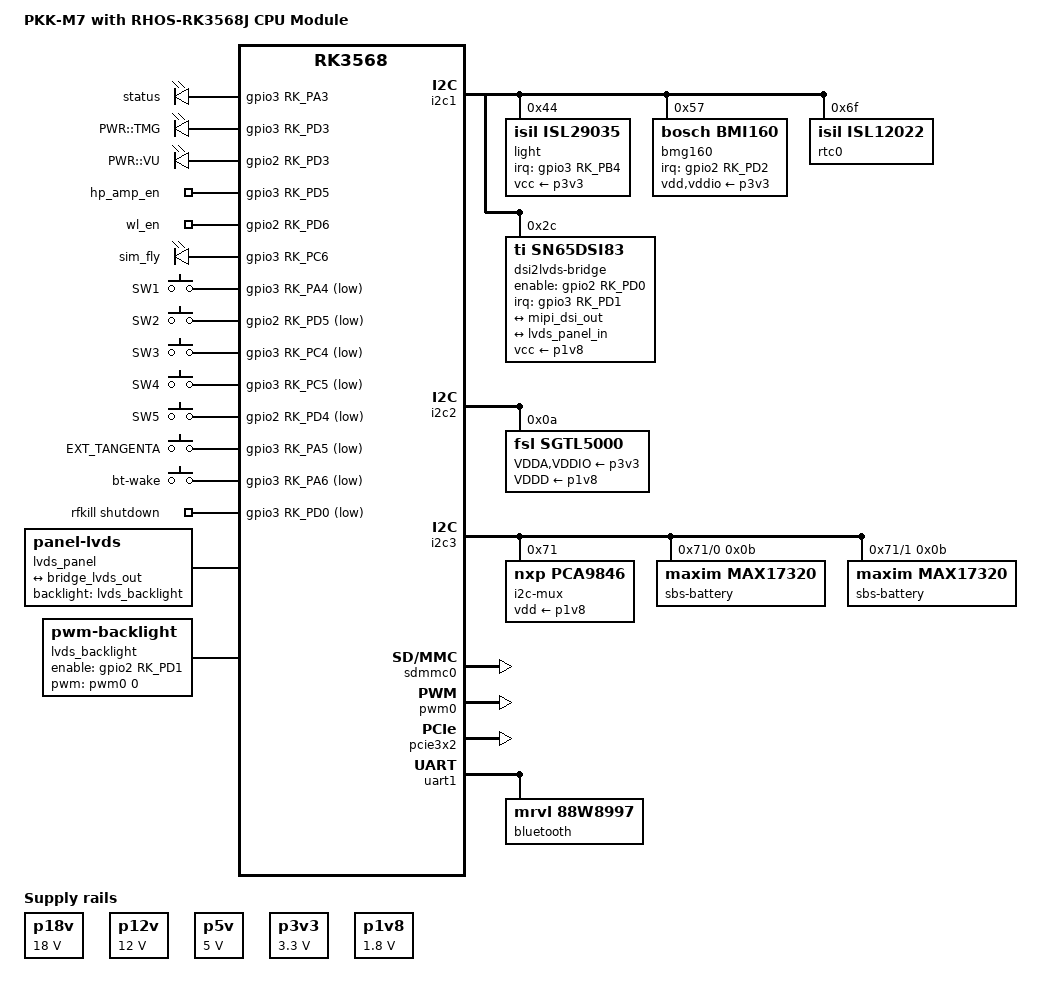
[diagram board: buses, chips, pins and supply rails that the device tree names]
// SPDX-License-Identifier: (GPL-2.0 OR MIT)
/*
 * Copyright (C) 2025 Radioavionica Corp., Alex A. Mihaylov <minimumlaw@rambler.ru>
 */

/dts-v1/;

#include "dt-bindings/input/input.h"
#include "rk3568-rhos.dtsi"

/ {
	model = "PKK-M7 with RHOS-RK3568J CPU Module";
	compatible = "ravion,pkk-m7", "ravion,rk3568-rhos", "rockchip,rk3568";

	chosen {
		stdout-path = "serial2:115200n8";
	};

	p18v: regulator-p18v {
		compatible = "regulator-fixed";
		regulator-name = "p18v";
		regulator-min-microvolt = <18000000>;
		regulator-max-microvolt = <18000000>;
		regulator-always-on;
	};

	p12v: regulator-p12v {
		compatible = "regulator-fixed";
		regulator-name = "p12v";
		regulator-min-microvolt = <12000000>;
		regulator-max-microvolt = <12000000>;
		regulator-always-on;
	};

	p5v: regulator-p5v {
		compatible = "regulator-fixed";
		regulator-name = "p5v";
		regulator-min-microvolt = <5000000>;
		regulator-max-microvolt = <5000000>;
		regulator-always-on;
	};

	p3v3: regulator-p3v3 {
		compatible = "regulator-fixed";
		regulator-name = "p3v3";
		regulator-min-microvolt = <3300000>;
		regulator-max-microvolt = <3300000>;
		regulator-always-on;
	};

	p1v8: regulator-p1v8 {
		compatible = "regulator-fixed";
		regulator-name = "p1v8";
		regulator-min-microvolt = <1800000>;
		regulator-max-microvolt = <1800000>;
		regulator-always-on;
	};

	gpio-leds {
		compatible = "gpio-leds";

		status_led {
			label = "status";
			gpios = <&gpio3 RK_PA3 GPIO_ACTIVE_HIGH>;	/* soDimm166 */
			default-state = "on";
		};

		tmg_pwr_pe {
			label = "PWR::TMG";
			gpios = <&gpio3 RK_PD3 GPIO_ACTIVE_HIGH>;	/* soDimm169 */
			default-state = "off";
		};

		vu_pwr_pe {
			label = "PWR::VU";
			gpios = <&gpio2 RK_PD3 GPIO_ACTIVE_HIGH>;	/* soDimm152 */
			default-state = "on";
		};

		hp_amp_en {
			label = "hp_amp_en";
			gpios = <&gpio3 RK_PD5 GPIO_ACTIVE_HIGH>;	/* soDimm173 */
			default-state = "on";
		};
/*** Attention: May be this bad idea ***/
		wl_en {
			label = "wl_en";
			gpios = <&gpio2 RK_PD6 GPIO_ACTIVE_HIGH>;	/* soDimm158 */
			default-state = "on";
		};

		sim_fly {
			label = "sim_fly";
			gpios = <&gpio3 RK_PC6 GPIO_ACTIVE_HIGH>;	/* soDimm175 */
			default-state = "on";
		};
	};

	gpio-keys {
		compatible = "gpio-keys";

		sw1-key {
			label = "SW1";
			linux,code = <KEY_F1>;
			gpios = <&gpio3 RK_PA4 GPIO_ACTIVE_LOW>;	/* soDimm168 */
			debounce-interval = <25>;
			wakeup-source;
		};

		sw2-key {
			label = "SW2";
			gpios = <&gpio2 RK_PD5 GPIO_ACTIVE_LOW>;	/* soDimm156 */
			linux,code = <KEY_F2>;
			debounce-interval = <25>;
			wakeup-source;
		};

		sw3-key {
			label = "SW3";
			gpios = <&gpio3 RK_PC4 GPIO_ACTIVE_LOW>;	/* soDimm174 */
			linux,code = <KEY_F3>;
			debounce-interval = <25>;
			wakeup-source;
		};

		sw4-key {
			label = "SW4";
			gpios = <&gpio3 RK_PC5 GPIO_ACTIVE_LOW>;	/* soDimm176 */
			linux,code = <KEY_F4>;
			debounce-interval = <25>;
			wakeup-source;
		};

		sw5-key {
			label = "SW5";
			gpios = <&gpio2 RK_PD4 GPIO_ACTIVE_LOW>;	/* soDimm154 */
			linux,code = <KEY_F5>;
			debounce-interval = <25>;
			wakeup-source;
		};

		ext-tng-key {
			label = "EXT_TANGENTA";
			gpios = <&gpio3 RK_PA5 GPIO_ACTIVE_LOW>;	/* soDimm170 */
			linux,code = <KEY_F13>;
			debounce-interval = <25>;
			wakeup-source;
		};

		/* FixMe: bt-wake realy button? */
		bt-wake {
			lebael = "BLUETOOTH_WAKE";
			gpios = <&gpio3 RK_PA6 GPIO_ACTIVE_LOW>;	/* soDimm172 */
			linux,code = <KEY_MACRO2>;
			wakeup-source;
		};
	};

	rfkill {
		compatible = "rfkill-gpio";
		radio-type = "wlan";
		shutdown-gpios = <&gpio3 RK_PD0 GPIO_ACTIVE_LOW>;	/* soDimm163 */
	};

	lvds_panel {
	/* Mitsubishi AA070TA01ADA11 LVDS display panel
	 *********************************************/
	/*	AA070TA01ADA11,        1280x768@60Hz DE-H
		PCLK (MHz)	50.0	62.8	74.6
		h-full-line	1310	1312	1536
		v-full-line	 782	 798	 ---	*/
		compatible = "panel-lvds";
		backlight = <&lvds_backlight>;
		data-mapping = "jeida-24";

		width-mm = <152>;
		height-mm = <91>;

		/*
		 * FixMe: DENA active high, h(f+b+l)=32, v(f+b+l)=30 @ 62.8MHz by spec,
		 *        but NOT work in out module! Fix polarity and recalculate.
		 */
		panel-timing {
			/* 1280x768-24@60 PCLK: 66.000MHz,
			screen 1200000px=1375*800=(1280+95)*(768+32) */
			clock-frequency = <66000000>;
			hfront-porch =	<45>;
			hsync-len =	<40>;
			hback-porch =	<5>;
			vfront-porch =	<10>;
			vsync-len =	<11>;
			vback-porch =	<11>;
			hactive = <1280>;
			vactive = <768>;
			de-active	= <1>;
		};

		port {
			lvds_panel_in: endpoint {
				remote-endpoint = <&bridge_lvds_out>;
			};
		};
	};

	lvds_backlight: backlight {
		compatible = "pwm-backlight";
		enable-gpios = <&gpio2 RK_PD1 GPIO_ACTIVE_HIGH>;	/* soDimm148 */
		pwms = <&pwm0 0 100000 0>; /* FixMe: frequency !!! */
		brightness-levels = <0 25 51 76 102 127 153 178 204 229 255>;
		default-brightness-level = <8>;
		status = "okay";
	};

	soundcard@0 {
		compatible = "simple-audio-card";
		simple-audio-card,name = "RHOS RK3568 SGTL5000";
		simple-audio-card,format = "i2s";
		simple-audio-card,bitclock-master = <&dailink0_master>;
		simple-audio-card,frame-master = <&dailink0_master>;

		simple-audio-card,cpu {
			sound-dai = <&i2s2_2ch 0>;
		};

		dailink0_master:
		simple-audio-card,codec {
			sound-dai = <&sgtl5000 0>;
		};
	};

};

&dsi1_out {
	mipi_dsi_out: endpoint {
		remote-endpoint = <&bridge_dsi_in>;
		clock-lanes = <0>;
		data-lanes = <1 2 3 4>;
	};
};

&i2c1 {
	light@44 {
		compatible = "isil,isl29035";
		vcc-supply = <&p3v3>;
		reg = <0x44>;
		interrupt-parent = <&gpio3>;
		interrupts = <RK_PB4 (IRQ_TYPE_EDGE_RISING)>;	/* soDimm178 */
	};

	bmg160@57 {
		compatible = "bosch,bmi160";
		reg = <0x57>;
		vdd-supply = <&p3v3>;
		vddio-supply = <&p3v3>;
		interrupt-parent = <&gpio2>;
		interrupts = <RK_PD2 (IRQ_TYPE_EDGE_RISING)>;	/* soDimm150 */
		interrupt-names = "INT1";
	};

	rtc0: rtc@6f { /* ISL12020: I2C Real Time Clock (battery backup) */
		compatible = "isil,isl12022";
		reg = <0x6f>;
	};

	dsi2lvds-bridge@2c {
		compatible = "ti,sn65dsi83";
		reg = <0x2c>;
		enable-gpios = <&gpio2 RK_PD0 GPIO_ACTIVE_HIGH>;	/* soDimm146 */
		interrupt-parent = <&gpio3>;
		interrupts = <RK_PD1 (IRQ_TYPE_EDGE_RISING)>;		/* soDimm165 */
		vcc-supply = <&p1v8>;
		status = "okay";

		ports {
			#address-cells = <1>;
			#size-cells = <0>;
			port@0 {
				reg = <0>;
				bridge_dsi_in: endpoint {
					clock-lanes = <0>;
					data-lanes = <1 2 3 4>;
					remote-endpoint = <&mipi_dsi_out>;
				};
			};

			port@2 {
				reg = <2>;
				bridge_lvds_out: endpoint {
					remote-endpoint = <&lvds_panel_in>;
				};
			};
		};
	};
};

&i2c2 {
	status = "okay";
	#address-cells = <1>;
	#size-cells = <0>;

	sgtl5000: codec@a {
		compatible = "fsl,sgtl5000";
		reg = <0xa>;
		#sound-dai-cells = <0>;
		assigned-clocks = <&pmucru CLK_WIFI>;
		assigned-clock-rates = <24000000>;
		pinctrl-names = "default";
		pinctrl-0 = <&refclk_pins>;	/* soDimm140 and soDimm142 as MCLK - 24MHz default */
		clocks = <&pmucru CLK_WIFI>;
		VDDA-supply = <&p3v3>;		/* +3.3VA is crosseed +3.3V */
		VDDIO-supply = <&p3v3>;
		VDDD-supply = <&p1v8>;
		micbias-resistor-k-ohms = <2>;
/*		micbias-voltage-m-volts = <3000>; */
		status = "okay";
	};
};

&i2c3 { /* SMBUS for battery */
	i2c-mux@71 {
		compatible = "nxp,pca9846";
		reg = <0x71>;
		vdd-supply = <&p1v8>;
		status = "okay";
		#address-cells = <1>;
		#size-cells = <0>;

		int_slot: i2c@0 {
			status = "okay";
			#address-cells = <1>;
			#size-cells = <0>;
			reg = <0>;

			sbs-battery@b {
				status = "okay";
				compatible = "maxim,max17320", "sbs,sbs-battery";
				reg = <0xb>;
				sbs,disable-charger-broadcasts; /* no SBS complaint charger */
			};
		};

		ext_slot: i2c@1 {
			status = "okay";
			#address-cells = <1>;
			#size-cells = <0>;
			reg = <1>;

			sbs-battery@b {
				status = "okay";
				compatible = "maxim,max17320", "sbs,sbs-battery";
				reg = <0xb>;
				sbs,disable-charger-broadcasts; /* no SBS complaint charger */
			};
		};

		i2c@2 {
			status = "disabled";
			#address-cells = <1>;
			#size-cells = <0>;
			reg = <2>;
		};

		i2c@3 {
			status = "disabled";
			#address-cells = <1>;
			#size-cells = <0>;
			reg = <3>;
		};
	};
};

/* MicroSD card slot
 ******************/
&sdmmc0 {	status = "okay";	};

/* PWMs
 *****/
&pwm0 {		status = "okay";	};

/* PCIe 2.0 disabled on this board
 **********************************/
&pcie2x1 {	status = "disabled";	};

/* PCIe 3.0 - WiFi interface slot
 *********************************/
&pcie3x2 {	status = "okay";	};

/* Bluetooth interface on WiFi slot
 ***********************************/
&uart1 {
	bluetooth {
		compatible = "mrvl,88w8997";
	};
};
